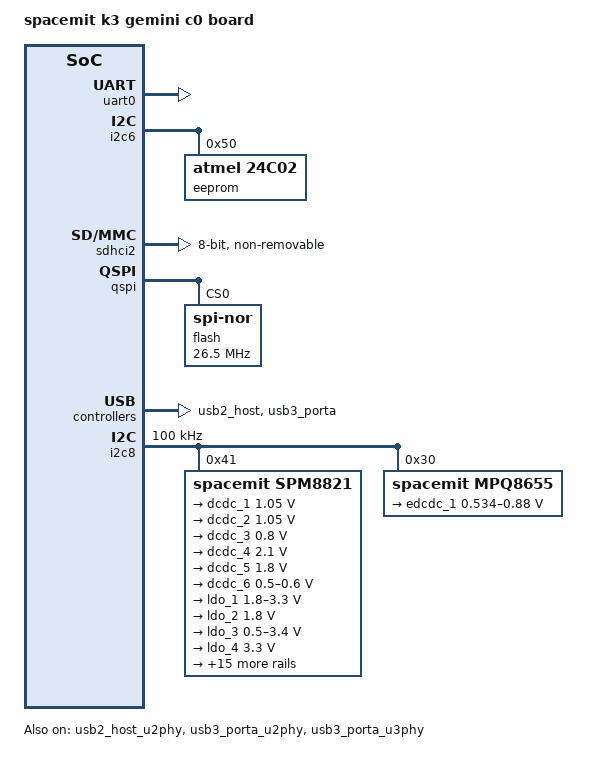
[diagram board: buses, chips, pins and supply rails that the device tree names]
// SPDX-License-Identifier: GPL-2.0
/*
 * finch board's base device tree configure.
 *
 * Copyright (C) 2025 SPACEMIT Micro Limited
 */

#include "k3.dtsi"
#include "k3-pinctrl.dtsi"

/ {
	model = "spacemit k3 gemini c0 board";
};

&cpus {
	timebase-frequency = <24000000>;
};

&pinctrl {
	gmac0_grp {
		power-source = <1800>;
	};

	gmac1_grp {
		power-source = <1800>;
	};

	qspi_grp {
		power-source = <1800>;
	};

	qspi_cs0_grp {
		power-source = <1800>;
	};
};

&uart0 {
	status = "okay";
};

&i2c6 {
	#address-cells = <1>;
	#size-cells = <0>;
	pinctrl-names = "default";
	pinctrl-0 = <&pinctrl_i2c6_4>;
	status = "okay";

	eeprom@50{
		compatible = "atmel,24c02";
		reg = <0x50>;
		status = "okay";
	};
};

&sdhci0 {
	pinctrl-names = "default","uhs";
	pinctrl-0 = <&pinctrl_mmc1>;
	pinctrl-1 = <&pinctrl_mmc1_uhs>;
	bus-width = <4>;
	cd-gpios = <&gpio 86 0>;
	cd-inverted;
	vqmmc-supply = <&ldo_1>;
	clock-frequency = <204800000>;
	spacemit,tx_delaycode = <0x1f>;
	sdh-phy-module = <0>;
	status = "disabled";
};

/* eMMC */
&sdhci2 {
	bus-width = <8>;
	non-removable;
	mmc-hs400-1_8v;
	mmc-hs400-enhanced-strobe;
	clock-frequency = <375000000>;
	sdh-phy-module = <1>;
	status = "okay";
};

&qspi {
	status = "okay";
	pinctrl-names = "default";
	pinctrl-0 = <&pinctrl_qspi &pinctrl_qspi_cs0>;

	flash@0 {
		compatible = "jedec,spi-nor";
		reg = <0>;
		spi-max-frequency = <26500000>;
		m25p,fast-read;
		broken-flash-reset;
		status = "okay";
	};
};

&eth0 {
	pinctrl-names = "default";
	pinctrl-0 = <&pinctrl_gmac0>;

	phy-reset-pin = <15>;
	max-speed = <1000>;
	clk_tuning_enable;
	clk-tuning-by-delayline;

	tx-phase = <65>;
	rx-phase = <50>;

	phy-mode = "rgmii";
	phy-handle = <&rgmii0>;

	status = "disabled";

	mdio {
		#address-cells = <0x1>;
		#size-cells = <0x0>;
		rgmii0: phy@0 {
			compatible = "ethernet-phy-ieee802.3-c22";
			device_type = "ethernet-phy";
			reg = <0x1>;
		};
	};
};

&eth1 {
	pinctrl-names = "default";
	pinctrl-0 = <&pinctrl_gmac1>;

	phy-reset-pin = <37>;
	max-speed = <1000>;
	clk_tuning_enable;
	clk-tuning-by-delayline;

	tx-phase = <70>;
	rx-phase = <58>;

	phy-mode = "rgmii";
	phy-handle = <&rgmii1>;

	status = "disabled";

	mdio {
		#address-cells = <0x1>;
		#size-cells = <0x0>;
		rgmii1: phy@1 {
			compatible = "ethernet-phy-ieee802.3-c22";
			device_type = "ethernet-phy";
			reg = <0x1>;
		};
	};
};

&pcie_phy0 {
	status = "disabled";
};

&pcie_phy1 {
	status = "disabled";
};

&pcie_phy2 {
	status = "disabled";
};

&pcie_phy3 {
	status = "disabled";
};

&pcie_phy4 {
	status = "disabled";
};

&pcie_phy5 {
	status = "disabled";
};

&pcie0_rc{
	pinctrl-names = "default";
	pinctrl-0 = <&pinctrl_pcie0_1>;
	phys = <&pcie_phy0>;
	phy-names = "pcie-phy0";

	num-lanes = <2>;
	status = "disabled";
};

&pcie1_rc {
	pinctrl-names = "default";
	pinctrl-0 = <&pinctrl_pcie1_1>;
	phys = <&pcie_phy1>;
	phy-names = "pcie-phy0";

	status = "disabled";
};

&pcie2_rc {
	pinctrl-names = "default";
	pinctrl-0 = <&pinctrl_pcie2_2>;
	phys = <&pcie_phy2>, <&pcie_phy3>;
	phy-names = "pcie-phy0", "pcie-phy1";

	status = "disabled";
};

&pcie3_rc {
	pinctrl-names = "default";
	pinctrl-0 = <&pinctrl_pcie3_1>;
	phys = <&pcie_phy4>;
	phy-names = "pcie-phy0";

	status = "disabled";
};

&pcie4_rc {
	pinctrl-names = "default";
	pinctrl-0 = <&pinctrl_pcie4_1>;
	phys = <&pcie_phy5>;
	phy-names = "pcie-phy0";

	status = "disabled";
};

&usb2_host_u2phy {
	status = "okay";
};

&usb2_host {
	status = "okay";
};

&usb3_porta_u2phy {
	status = "okay";
};

&usb3_porta_u3phy {
	status = "okay";
};

&usb3_porta {
	status = "okay";
	u-boot,dm-spl;
	dwc3@cad00000 {
		dr_mode = "peripheral";
	};
};

&ufs {
	status = "disabled";
};

&pinctrl {
	pinctrl-single,gpio-range = <
		&range GPIO_86  1 (MUX_MODE0 | EDGE_NONE | PULL_UP   | PAD_DS4)
	>;

	pcie1_1_grp {
		pinctrl-single,pins =<
			K3_PADCONF(GPIO_88, MUX_MODE4, (EDGE_NONE | PULL_UP | PAD_DS15)) /* PCIeB_perstn */
			K3_PADCONF(GPIO_89, MUX_MODE4, (EDGE_NONE | PULL_UP | PAD_DS15)) /* PCIeB_waken */
			K3_PADCONF(GPIO_90, MUX_MODE4, (EDGE_NONE | PULL_UP | PAD_DS15)) /* PCIeB_clkreqn */
		>;
	};

	pcie3_1_grp {
		pinctrl-single,pins =<
			K3_PADCONF(GPIO_105, MUX_MODE5, (EDGE_NONE | PULL_UP | PAD_DS15)) /* PCIeD_perstn */
			K3_PADCONF(GPIO_106, MUX_MODE5, (EDGE_NONE | PULL_UP | PAD_DS15)) /* PCIeD_waken */
			K3_PADCONF(GPIO_107, MUX_MODE5, (EDGE_NONE | PULL_UP | PAD_DS15)) /* PCIeD_clkreqn */
		>;
		power-source = <1800>;
	};

	pcie4_1_grp {
		pinctrl-single,pins =<
			K3_PADCONF(GPIO_76, MUX_MODE5, (EDGE_NONE | PULL_UP | PAD_DS15)) /* PCIeE_perstn */
			K3_PADCONF(GPIO_77, MUX_MODE5, (EDGE_NONE | PULL_UP | PAD_DS15)) /* PCIeE_waken */
			K3_PADCONF(GPIO_78, MUX_MODE5, (EDGE_NONE | PULL_UP | PAD_DS15)) /* PCIeE_clkreqn */
		>;
	};
};

&gpio{
	gpio-ranges = <
		&pinctrl 86 GPIO_86 1
	>;
};

&i2c8 {
	clock-frequency = <100000>;
	u-boot,dm-spl;
	pinctrl-names = "default";
	pinctrl-0 = <&pinctrl_i2c8>;
	status = "okay";

	spm8821: pmic@41 {
		compatible = "spacemit,spm8821";
		reg = <0x41>;
		bus = <8>;
		u-boot,dm-spl;

		regulators {
			/* buck */
			dcdc_1: DCDC_REG1 {
				regulator-name = "dcdc1";
				regulator-min-microvolt = <1050000>;
				regulator-max-microvolt = <1050000>;
				regulator-always-on;
				regulator-boot-on;
				u-boot,dm-spl;
				regulator-state-mem {
					regulator-suspend-microvolt = <1050000>;
				};
			};

			dcdc_2: DCDC_REG2 {
				regulator-name = "dcdc2";
				regulator-min-microvolt = <1050000>;
				regulator-max-microvolt = <1050000>;
				regulator-always-on;
				regulator-boot-on;
				regulator-state-mem {
					regulator-suspend-microvolt = <1050000>;
				};
			};

			dcdc_3: DCDC_REG3 {
				regulator-name = "dcdc3";
				regulator-min-microvolt = <800000>;
				regulator-max-microvolt = <800000>;
				regulator-always-on;
				regulator-boot-on;
				u-boot,dm-spl;
				regulator-state-mem {
					regulator-suspend-microvolt = <800000>;
				};
			};

			dcdc_4: DCDC_REG4 {
				regulator-name = "dcdc4";
				regulator-min-microvolt = <2100000>;
				regulator-max-microvolt = <2100000>;
				regulator-always-on;
				regulator-boot-on;
				regulator-state-mem {
					regulator-suspend-microvolt = <2100000>;
				};
			};

			dcdc_5: DCDC_REG5 {
				regulator-name = "dcdc5";
				regulator-min-microvolt = <1800000>;
				regulator-max-microvolt = <1800000>;
				regulator-always-on;
				regulator-boot-on;
				regulator-state-mem {
					regulator-suspend-microvolt = <1800000>;
				};
			};

			dcdc_6: DCDC_REG6 {
				regulator-name = "dcdc6";
				regulator-min-microvolt = <500000>;
				regulator-max-microvolt = <600000>;
				regulator-always-on;
				regulator-boot-on;
				regulator-state-mem {
					regulator-suspend-microvolt = <500000>;
				};
			};

			/* aldo */
			ldo_1: LDO_REG1 {
				regulator-name = "ldo1";
				regulator-min-microvolt = <1800000>;
				regulator-max-microvolt = <3300000>;
				regulator-always-on;
				regulator-boot-on;
				u-boot,dm-spl;
				regulator-state-mem {
					regulator-suspend-microvolt = <1800000>;
				};
			};

			ldo_2: LDO_REG2 {
				regulator-name = "ldo2";
				regulator-min-microvolt = <1800000>;
				regulator-max-microvolt = <1800000>;
				regulator-always-on;
				regulator-boot-on;
				regulator-state-mem {
					regulator-suspend-microvolt = <1800000>;
				};
			};

			ldo_3: LDO_REG3 {
				regulator-name = "ldo3";
				regulator-min-microvolt = <500000>;
				regulator-max-microvolt = <3400000>;
				regulator-state-mem {
					regulator-suspend-microvolt = <3300000>;
				};
			};

			ldo_4: LDO_REG4 {
				regulator-name = "ldo4";
				regulator-min-microvolt = <3300000>;
				regulator-max-microvolt = <3300000>;
				regulator-always-on;
				regulator-boot-on;
				regulator-state-mem {
					regulator-suspend-microvolt = <3300000>;
				};
			};

			/* dldo */
			ldo_5: LDO_REG5 {
				regulator-name = "ldo5";
				regulator-min-microvolt = <1200000>;
				regulator-max-microvolt = <1200000>;
				regulator-always-on;
				regulator-boot-on;
				regulator-state-mem {
					regulator-suspend-microvolt = <1200000>;
				};
			};

			ldo_6: LDO_REG6 {
				regulator-name = "ldo6";
				regulator-min-microvolt = <900000>;
				regulator-max-microvolt = <900000>;
				regulator-always-on;
				regulator-boot-on;
				regulator-state-mem {
					regulator-suspend-microvolt = <900000>;
				};
			};

			ldo_7: LDO_REG7 {
				regulator-name = "ldo7";
				regulator-min-microvolt = <800000>;
				regulator-max-microvolt = <800000>;
				regulator-always-on;
				regulator-boot-on;
				regulator-state-mem {
					regulator-suspend-microvolt = <800000>;
				};
			};

			ldo_8: LDO_REG8 {
				regulator-name = "ldo8";
				regulator-min-microvolt = <1800000>;
				regulator-max-microvolt = <1800000>;
				regulator-boot-on;
				regulator-state-mem {
					regulator-suspend-microvolt = <1800000>;
				};
			};

			ldo_9: LDO_REG9 {
				regulator-name = "ldo9";
				regulator-min-microvolt = <1800000>;
				regulator-max-microvolt = <1800000>;
				regulator-always-on;
				regulator-boot-on;
				regulator-state-mem {
					regulator-suspend-microvolt = <1800000>;
				};
			};

			ldo_10: LDO_REG10 {
				regulator-name = "ldo10";
				regulator-min-microvolt = <1800000>;
				regulator-max-microvolt = <1800000>;
				regulator-always-on;
				regulator-boot-on;
				regulator-state-mem {
					regulator-suspend-microvolt = <1800000>;
				};
			};

			ldo_11: LDO_REG11 {
				regulator-name = "ldo11";
				regulator-min-microvolt = <1800000>;
				regulator-max-microvolt = <1800000>;
				regulator-always-on;
				regulator-boot-on;
				regulator-state-mem {
					regulator-suspend-microvolt = <1800000>;
				};
			};

			sw_2: SWITCH_REG1 {
				regulator-name = "switch1";
			};

			power_event: SWITCH_REG2 {
				regulator-name = "pwr-event";
			};

			power_int: SWITCH_REG3 {
				regulator-name = "pwr-int";
			};

			rtc_ctrl: SWITCH_REG4 {
				regulator-name = "rtc-ctrl";
			};

			rtc_event: SWITCH_REG5 {
				regulator-name = "rtc-event";
			};

			rtc_irq: SWITCH_REG6 {
				regulator-name = "rtc-irq";
			};

			power_down: SWITCH_REG7 {
				regulator-name = "power-down";
			};

			reboot_flag: SWITCH_REG8 {
				regulator-name = "reboot-flag";
			};

			wdt_pm8821: PMIC_WDT {
				wdt-name = "wdt_pm8821";
			};
		};
	};

	mpq8655: mpq8655@30 {
		compatible = "spacemit,mpq8655";
		reg = <0x30>;
		bus = <8>;
		u-boot,dm-spl;

		regulators {
			u-boot,dm-spl;

			edcdc_1: EDCDC_REG1 {
				regulator-name = "edcdc1";
				regulator-min-microvolt = <534000>;
				regulator-max-microvolt = <880000>;
				regulator-init-microvolt = <880000>;
				regulator-always-on;
				regulator-boot-on;
				u-boot,dm-spl;
			};
		};
	};
};

&dpu {
	status = "disabled";

	dpu_out: port {
		#address-cells = <1>;
		#size-cells = <0>;

		dpu_out_dp0: endpoint@1 {
			reg = <1>;
			remote-endpoint = <&dp0_in_dpu>;
		};
	};
};

&dp0 {
	pinctrl-names = "default";
	pinctrl-0 = <&pinctrl_dp0_2>;
	status = "disabled";

	ports {
		dp0_in: port {
			#address-cells = <1>;
			#size-cells = <0>;
			dp0_in_dpu: endpoint@0 {
				reg = <0>;
				remote-endpoint = <&dpu_out_dp0>;
			};
		};
	};
};

&mipi_dsi {
	status = "disabled";
};

&panel {
	force-attached = "icnl9911c";
	dcp-gpios = <&gpio 56 0>;
	dcn-gpios = <&gpio 57 0>;
	enable-gpios = <&gpio 61 0>;
	reset-gpios = <&gpio 63 0>;
	status = "disabled";
};
